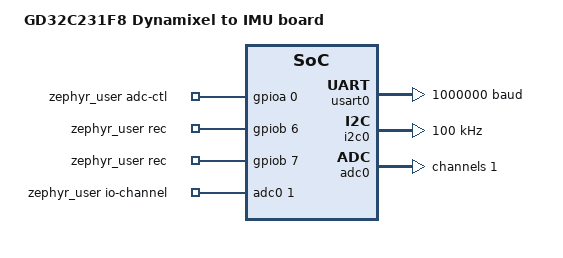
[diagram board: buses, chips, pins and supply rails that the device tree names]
/*
 * MicroDuck power board MCU (GD32C231F8P6TR)
 */

/dts-v1/;

#include <gd/gd32c2x1/gd32c231f8.dtsi>
#include <zephyr/dt-bindings/adc/adc.h>
#include <zephyr/dt-bindings/i2c/i2c.h>
#include "gd32c231f8_dk-pinctrl.dtsi"

/ {
	model = "GD32C231F8 Dynamixel to IMU board";
	compatible = "gd,gd32c231f8-dk";

	chosen {
		zephyr,flash = &flash0;
		zephyr,sram = &sram0;
	};

	zephyr_user: zephyr-user {
		compatible = "zephyr,user";
		/* PA0 = ADC_CTL: powers the ADC sense divider, driven high at boot */
		adc-ctl-gpios = <&gpioa 0 GPIO_ACTIVE_HIGH>;
		/* PA1 = ADC0_IN1: Vbat divider sample (Vbat = Vadc x 2.8) */
		io-channels = <&adc0 1>;
		/* I2C0 bus recovery bit-bang (SCL, SDA) */
		rec-gpios = <&gpiob 6 GPIO_OPEN_DRAIN>, <&gpiob 7 GPIO_OPEN_DRAIN>;
	};
};

&gpioa {
	status = "okay";
};

&gpiob {
	status = "okay";
};

&usart0 {
	status = "okay";
	current-speed = <1000000>;
	pinctrl-0 = <&usart0_default>;
	pinctrl-names = "default";
};

&i2c0 {
	pinctrl-0 = <&i2c0_default>;
	pinctrl-names = "default";
	clock-frequency = <I2C_BITRATE_STANDARD>;
	status = "okay";

	/* LSM6DSV16XTR at I2C 0x6A; sensor driver disabled, the app accesses registers directly */
	lsm6dsv16x: imu@6a {
		compatible = "st,lsm6dsv16x";
		reg = <0x6a>;
		status = "disabled";
	};
};

&adc0 {
	pinctrl-0 = <&adc0_default>;
	pinctrl-names = "default";
	status = "okay";

	#address-cells = <1>;
	#size-cells = <0>;

	channel@1 {
		reg = <1>;
		zephyr,gain = "ADC_GAIN_1";
		zephyr,reference = "ADC_REF_INTERNAL";
		/* longest acquisition time (160.5 cycles) for the 18K/10K divider source impedance */
		zephyr,acquisition-time = <ADC_ACQ_TIME(ADC_ACQ_TIME_TICKS, 161)>;
		zephyr,resolution = <12>;
		zephyr,vref-mv = <3300>;
	};
};
